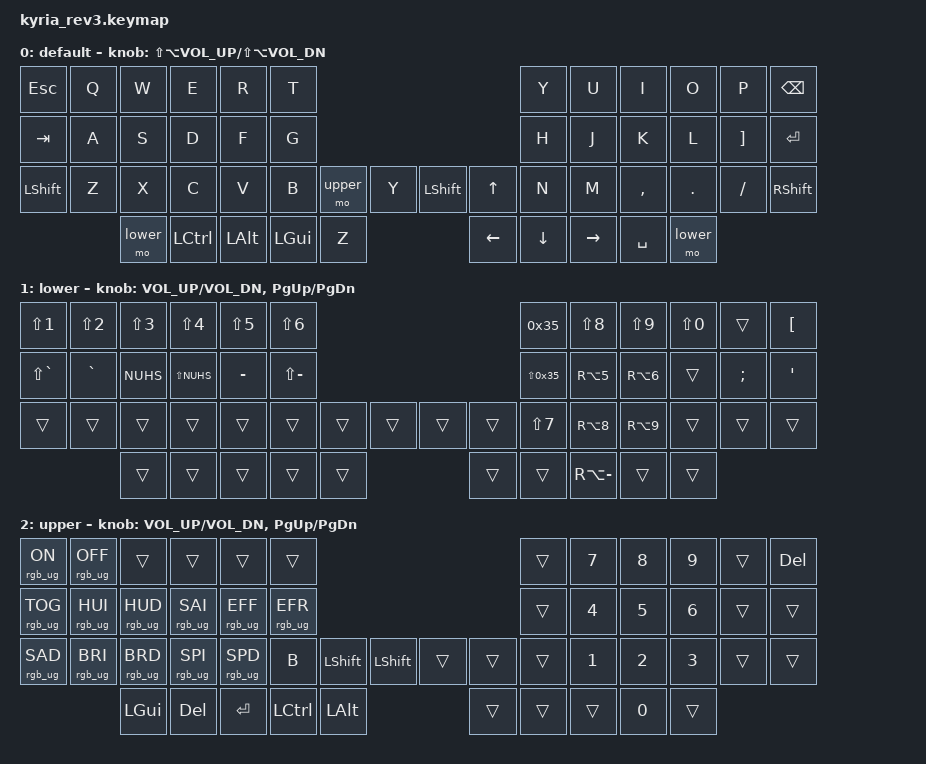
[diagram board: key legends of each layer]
/*
 * Copyright (c) 2023 The ZMK Contributors
 *
 * SPDX-License-Identifier: MIT
 */

 #define default 0
 #define lower 1
 #define upper 2
 #define mod 3

#include <behaviors.dtsi>
#include <dt-bindings/zmk/keys.h>
#include <dt-bindings/zmk/rgb.h>
#include <dt-bindings/zmk/bt.h>

//Uncomment this block if using RGB
&led_strip {
	chain-length = <6>;
	chain-length = <25>; // Uncomment if using both per-key and underglow LEDs
	// chain-length = <25>; // Uncomment if using only per-key LEDs.
};

/ {
    combos {
        compatible = "zmk,combos";
        combo_ae {
            timeout-ms = <50>;
            key-positions = <13 14>;
            bindings = <&kp SQT>;
        };
		compatible = "zmk,combos";
        combo_oe {
            timeout-ms = <50>;
            key-positions = <8 9>;
            bindings = <&kp SEMI>;
        };
		compatible = "zmk,combos";
        combo_ue {
            timeout-ms = <50>;
            key-positions = <7 8>;
            bindings = <&kp LBKT>;
        };
		compatible = "zmk,combos";
        combo_ss {
            timeout-ms = <50>;
            key-positions = <14 15>;
            bindings = <&kp MINUS>;
        };
		compatible = "zmk,combos";
        combo_at {
            timeout-ms = <50>;
            key-positions = <12 13>;
            bindings = <&kp RA(Q)>;
        };
    };
};

/ {
	keymap {
		compatible = "zmk,keymap";

		default {
			// ---------------------------------------------------------------------------------------------------------------------------------
			// |  ESC  |  Q  |  W  |  E   |  R   |  T   |                                        |  Z   |  U    |  I    |  O   |   P   |  LBKT |
			// |  TAB  |  A  |  S  |  D   |  F   |  G   |                                        |  H   |  J    |  K    |  L   |   +   | ENTER |
			// | SHIFT |  Z  |  X  |  C   |  V   |  B   | Upper | ROT     |  | ROT     |   UP    |  N   |  M    |  ,    |  .   |   -   | Shift |
			//                     | Lower| CTRL | Alt  |  LGUI |   L ALT |  |   LEFT  |  DOWN   | RIGHT  | SPACE  | Lower |
			bindings = <
			&kp ESC   &kp Q &kp W &kp E &kp R &kp T                                                &kp Y &kp U  &kp I     &kp O   &kp P    &kp BSPC
			&kp TAB   &kp A &kp S &kp D &kp F &kp G                                                &kp H &kp J  &kp K     &kp L   &kp RBKT &kp RET
			&kp LSHFT &kp Z &kp X &kp C &kp V &kp B     &mo upper  &kp Y          &kp LSHFT &kp UP &kp N &kp M  &kp COMMA &kp DOT &kp FSLH &kp RSHFT
							&mo lower &kp LCTRL	&kp LALT  &kp LGUI  &kp  Z    &kp LEFT  &kp DOWN  &kp RIGHT &kp SPACE &mo lower
			>;				
			sensor-bindings = <&inc_dec_kp LS(LA(C_VOL_UP)) LS(LA(C_VOL_DN))>;   
		};

		lower {
			// ---------------------------------------------------------------------------------------------------------------------------------
			// |  !  |  "  |  §  |  $   |  %   |  &   |                                             |  <   |  (   |  )   |  =   |     |  Ü  |
			// |  °  |  ^  |  #  |  '   |   ?  |  ß   |                                                    |  >   |  [   |  ]   |      |  Ö  |  Ä  |
			// |  |    |    |     |     |     |   |      |         |  |                  |  | /    |  {   |  }   |     |    |    |
			//                     |   |   |   |   |      |  |      |  | RALT(KC_MINS)  |         |         |
			bindings = <
			&kp LS(N1)	  &kp LS(N2) &kp LS(N3)	&kp LS(N4)	&kp LS(N5)	&kp LS(N6)                   									&kp 0x35        &kp LS(N8)  &kp LS(N9) &kp LS(N0)   &trans    &kp LBKT
			&kp LS(GRAVE) &kp GRAVE   &kp NUHS   &kp LS(NUHS) &kp  MINUS     &kp  LS(MINUS)                                             &kp LS(0x35)  	&kp RA(N5)  &kp RA(N6) &trans   	&kp SEMI  &kp SQT
			&trans	&trans  	&trans  	&trans 		&trans 		&trans 		&trans 		&trans          &trans 		&trans   	&kp LS(N7)     	&kp RA(N8)  &kp RA(N9) &trans   	&trans    &trans
												&trans 		&trans 		&trans 		&trans 		&trans      	&trans  	&trans  	&kp RA(MINUS)		&trans 		&trans
			>;

			sensor-bindings = <&inc_dec_kp C_VOL_UP C_VOL_DN &inc_dec_kp PG_UP PG_DN>;
		};
	
 		upper {
			// ---------------------------------------------------------------------------------------------------------------------------------
			// |  ON  | OFF |BT_CLR|  E   |  R   |  T   |                                     |      |  7    |  8    |  9   |     |    |
			// |  TAB  |  A  |  S  |  D   |  F   |  G   |                                          |      |  4    |  5    |  6   |     |    |
			// | SHIFT |  Z  |  X  |  C   |  V   |  B   | L SHIFT | L SHIFT |  | L SHIFT | L SHIFT |      |  1    |  2    |  3   |     |    |
			//                     | GUI  | DEL  | RET  |  L CTRL |   L ALT   |  |   RET   |  SPACE  |    |  0    |       |

			bindings = <
			&rgb_ug RGB_ON   &rgb_ug RGB_OFF &trans &trans &trans &trans                                          		    				&trans &kp N7  &kp N8 &kp N9   &trans    &kp DEL
			&rgb_ug RGB_TOG  &rgb_ug RGB_HUI &rgb_ug RGB_HUD &rgb_ug RGB_SAI &rgb_ug RGB_EFF &rgb_ug RGB_EFR                     		    &trans &kp N4  &kp N5 &kp N6   &trans    &trans
			&rgb_ug RGB_SAD &rgb_ug RGB_BRI  &rgb_ug RGB_BRD &rgb_ug RGB_SPI &rgb_ug RGB_SPD &kp B &kp LSHFT &kp LSHFT      &trans  &trans  &trans &kp N1  &kp N2 &kp N3   &trans    &trans
							&kp LGUI &kp DEL &kp RET &kp LCTRL &kp LALT        												&trans  &trans  &trans &kp N0  &trans
			>;

			sensor-bindings = <&inc_dec_kp C_VOL_UP C_VOL_DN &inc_dec_kp PG_UP PG_DN>;
		};

/*		mod {
			// ---------------------------------------------------------------------------------------------------------------------------------
			// |    | 	 |		|  	  |  	  |  	   |                                     |      |  	    |  	    |  	  |     |    |
			// |  	  |  A  |  S  |  D   |  F   |  G   |                                          |      |  4    |  5    |  6   |     |    |
			// | SHIFT |  Z  |  X  |  C   |  V   |  B   | L SHIFT | L SHIFT |  | L SHIFT | L SHIFT |      |  1    |  2    |  3   |     |    |
			//                     | GUI  | DEL  | RET  |  L CTRL |   L ALT   |  |   RET   |  SPACE  |    |  0    |       |
			bindings = <
			&BT_CLR 	&trans 	&trans 	&trans 	&trans 	&trans 											&trans 	&kp LBKT &trans &kp SEMI &trans 	&trans 
			&trans 	&kp SQT 	&kp MINUS 	&trans 	&trans 	&trans 										&trans 	&trans 	&trans 	&trans 	&trans 	&trans 
			&trans 	&trans 	&trans 	&trans 	&trans 	&trans 	&trans	&trans		&trans	&trans	&trans 	&trans 	&trans 	&trans 	&trans 	&trans 
								 	&trans 	&trans 	&trans 	&trans	&trans		&trans	&trans	&trans 	&trans 	&trans 	
			>;

			sensor-bindings = <&inc_dec_kp C_VOL_UP C_VOL_DN &inc_dec_kp PG_UP PG_DN>;
		};

		mod {
			// ---------------------------------------------------------------------------------------------------------------------------------
			// |  ON  | OFF |BT_CLR|  E   |  R   |  T   |                                     |      |  7    |  8    |  9   |     |    |
			// |  TAB  |  A  |  S  |  D   |  F   |  G   |                                          |      |  4    |  5    |  6   |     |    |
			// | SHIFT |  Z  |  X  |  C   |  V   |  B   | L SHIFT | L SHIFT |  | L SHIFT | L SHIFT |      |  1    |  2    |  3   |     |    |
			//                     | GUI  | DEL  | RET  |  L CTRL |   L ALT   |  |   RET   |  SPACE  |    |  0    |       |
			bindings = <
			&rgb_ug RGB_ON   &rgb_ug RGB_OFF &trans &trans &trans &trans                                          		    &bt BT_CLR &bt BT_NXT &bt BT_PRV &bt BT_SEL    &trans    &trans
			&rgb_ug RGB_TOG  &rgb_ug RGB_HUI &rgb_ug RGB_HUD &rgb_ug RGB_SAI &rgb_ug RGB_EFF &rgb_ug RGB_EFR                     		    &trans &kp N4  &kp N5 &kp N6   &trans    &trans
			&rgb_ug RGB_SAD &rgb_ug RGB_BRI  &rgb_ug RGB_BRD &rgb_ug RGB_SPI &rgb_ug RGB_SPD &kp B &kp LSHFT &kp LSHFT      &trans  &trans  &trans &kp N1  &kp N2 &kp N3   &trans    &trans
							&kp LGUI &kp DEL &kp RET &kp LCTRL &kp LALT        												&trans  &trans  &trans &kp N0  &trans
			>;

			sensor-bindings = <&inc_dec_kp C_VOL_UP C_VOL_DN &inc_dec_kp PG_UP PG_DN>;
		};*/
	};
};
 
